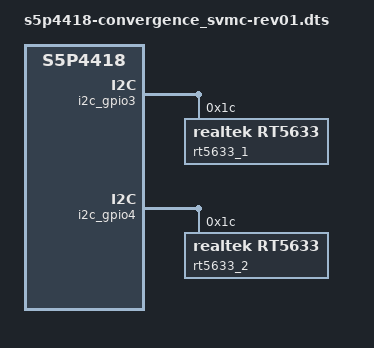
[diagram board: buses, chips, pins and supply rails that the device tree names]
/*
 * Copyright (C) 2016  Nexell Co., Ltd.
 * Author: Youngbok, Park <ybpark@nexell.co.kr>
 *
 * This program is free software; you can redistribute it and/or
 * modify it under the terms of the GNU General Public License
 * as published by the Free Software Foundation; either version 2
 * of the License, or (at your option) any later version.
 *
 * This program is distributed in the hope that it will be useful,
 * but WITHOUT ANY WARRANTY; without even the implied warranty of
 * MERCHANTABILITY or FITNESS FOR A PARTICULAR PURPOSE.  See the
 * GNU General Public License for more details.
 *
 * You should have received a copy of the GNU General Public License
 * along with this program.  If not, see <http://www.gnu.org/licenses/>.
 */

/dts-v1/;
#include "s5p4418-convergence_svmc-common.dtsi"
/ {
	i2c_gpio3: i2c@3 {
		/delete-property/ alc5621_1;
		rt5633_1: rt5633_1@1c {
			#sound-dai-cells = <0>;
			compatible = "realtek,rt5633";
			reg = <0x1c>;
		};
	};

	i2c_gpio4: i2c@4 {
		/delete-property/ alc5621_2;
		rt5633_2: rt5633_2@1c {
			#sound-dai-cells = <0>;
			compatible = "realtek,rt5633";
			reg = <0x1c>;
		};
	};

	sound {
		simple-audio-card,widgets =
			"Microphone", "Mic Jack",
			"Line", "Line In",
			"Line", "Line Out",
			"Speaker", "Speaker Out";
		simple-audio-card,routing =
			"Line Out", "AUXOUTL",
			"Line Out", "AUXOUTR",
			"Speaker Out", "SPOL",
			"Speaker Out", "SPOR",
			"MIC1", "Mic Jack",
			"LINE1L", "Line In",
			"LINE1R", "Line In";

		simple-audio-card,dai-link@0 {
			codec {
				sound-dai = <&rt5633_2>;
			};
		};
	};

	sound-sub {
		simple-audio-card,widgets =
			"Microphone", "Mic Jack",
			"Line", "Line In",
			"Line", "Line Out",
			"Speaker", "Speaker Out";
		simple-audio-card,routing =
			"Line Out", "AUXOUTL",
			"Line Out", "AUXOUTR",
			"Speaker Out", "SPOL",
			"Speaker Out", "SPOR",
			"MIC1", "Mic Jack",
			"LINE1L", "Line In",
			"LINE1R", "Line In";

		simple-audio-card,dai-link@0 {
			codec {
				sound-dai = <&rt5633_1>;
			};
		};
	};
};
